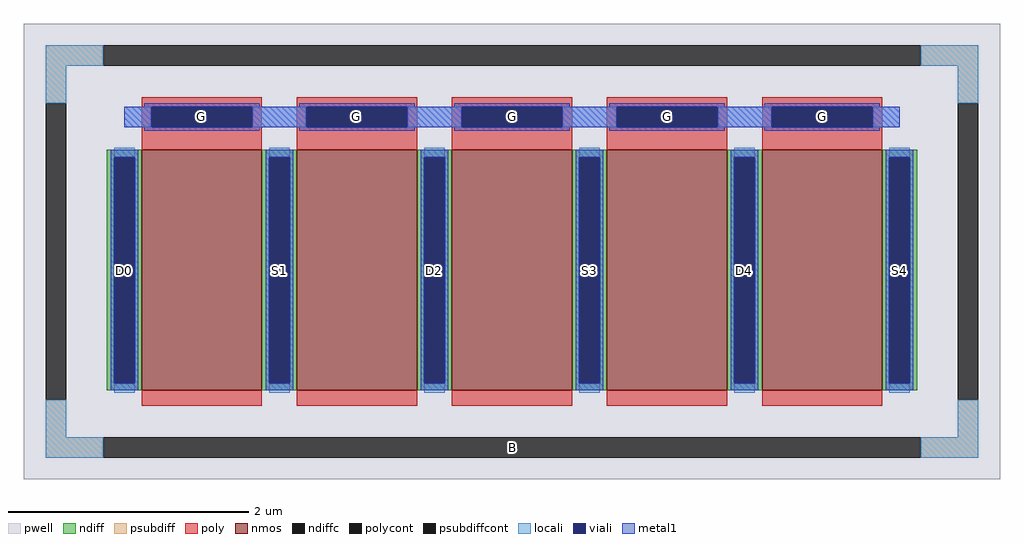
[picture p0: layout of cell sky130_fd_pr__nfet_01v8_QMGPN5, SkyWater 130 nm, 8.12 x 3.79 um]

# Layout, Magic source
magic
tech sky130A
magscale 1 2
<< pwell >>
rect -812 -379 812 379
<< nmos >>
rect -616 -231 -416 169
rect -358 -231 -158 169
rect -100 -231 100 169
rect 158 -231 358 169
rect 416 -231 616 169
<< ndiff >>
rect -674 157 -616 169
rect -674 -219 -662 157
rect -628 -219 -616 157
rect -674 -231 -616 -219
rect -416 157 -358 169
rect -416 -219 -404 157
rect -370 -219 -358 157
rect -416 -231 -358 -219
rect -158 157 -100 169
rect -158 -219 -146 157
rect -112 -219 -100 157
rect -158 -231 -100 -219
rect 100 157 158 169
rect 100 -219 112 157
rect 146 -219 158 157
rect 100 -231 158 -219
rect 358 157 416 169
rect 358 -219 370 157
rect 404 -219 416 157
rect 358 -231 416 -219
rect 616 157 674 169
rect 616 -219 628 157
rect 662 -219 674 157
rect 616 -231 674 -219
<< ndiffc >>
rect -662 -219 -628 157
rect -404 -219 -370 157
rect -146 -219 -112 157
rect 112 -219 146 157
rect 370 -219 404 157
rect 628 -219 662 157
<< psubdiff >>
rect -776 309 -680 343
rect 680 309 776 343
rect -776 247 -742 309
rect 742 247 776 309
rect -776 -309 -742 -247
rect 742 -309 776 -247
rect -776 -343 -680 -309
rect 680 -343 776 -309
<< psubdiffcont >>
rect -680 309 680 343
rect -776 -247 -742 247
rect 742 -247 776 247
rect -680 -343 680 -309
<< poly >>
rect -616 241 -416 257
rect -616 207 -600 241
rect -432 207 -416 241
rect -616 169 -416 207
rect -358 241 -158 257
rect -358 207 -342 241
rect -174 207 -158 241
rect -358 169 -158 207
rect -100 241 100 257
rect -100 207 -84 241
rect 84 207 100 241
rect -100 169 100 207
rect 158 241 358 257
rect 158 207 174 241
rect 342 207 358 241
rect 158 169 358 207
rect 416 241 616 257
rect 416 207 432 241
rect 600 207 616 241
rect 416 169 616 207
rect -616 -257 -416 -231
rect -358 -257 -158 -231
rect -100 -257 100 -231
rect 158 -257 358 -231
rect 416 -257 616 -231
<< polycont >>
rect -600 207 -432 241
rect -342 207 -174 241
rect -84 207 84 241
rect 174 207 342 241
rect 432 207 600 241
<< locali >>
rect -776 309 -680 343
rect 680 309 776 343
rect -776 247 -742 309
rect 742 247 776 309
rect -645 207 -600 241
rect -432 207 -342 241
rect -174 207 -84 241
rect 84 207 174 241
rect 342 207 432 241
rect 600 207 645 241
rect -662 157 -628 173
rect -662 -235 -628 -219
rect -404 157 -370 173
rect -404 -235 -370 -219
rect -146 157 -112 173
rect -146 -235 -112 -219
rect 112 157 146 173
rect 112 -235 146 -219
rect 370 157 404 173
rect 370 -235 404 -219
rect 628 157 662 173
rect 628 -235 662 -219
rect -776 -309 -742 -247
rect 742 -309 776 -247
rect -776 -343 -680 -309
rect 680 -343 776 -309
<< viali >>
rect -600 207 -432 241
rect -342 207 -174 241
rect -84 207 84 241
rect 174 207 342 241
rect 432 207 600 241
rect -662 -219 -628 157
rect -404 -219 -370 157
rect -146 -219 -112 157
rect 112 -219 146 157
rect 370 -219 404 157
rect 628 -219 662 157
<< metal1 >>
rect -612 241 -420 247
rect -354 241 -162 247
rect -96 241 96 247
rect 162 241 354 247
rect 420 241 612 247
rect -645 207 -600 241
rect -432 207 -342 241
rect -174 207 -84 241
rect 84 207 174 241
rect 342 207 432 241
rect 600 207 645 241
rect -612 201 -420 207
rect -354 201 -162 207
rect -96 201 96 207
rect 162 201 354 207
rect 420 201 612 207
rect -668 157 -622 169
rect -668 -219 -662 157
rect -628 -219 -622 157
rect -668 -231 -622 -219
rect -410 157 -364 169
rect -410 -219 -404 157
rect -370 -219 -364 157
rect -410 -231 -364 -219
rect -152 157 -106 169
rect -152 -219 -146 157
rect -112 -219 -106 157
rect -152 -231 -106 -219
rect 106 157 152 169
rect 106 -219 112 157
rect 146 -219 152 157
rect 106 -231 152 -219
rect 364 157 410 169
rect 364 -219 370 157
rect 404 -219 410 157
rect 364 -231 410 -219
rect 622 157 668 169
rect 622 -219 628 157
rect 662 -219 668 157
rect 622 -231 668 -219
<< labels >>
rlabel psubdiffcont 0 -326 0 -326 0 B
port 1 nsew
rlabel ndiffc -645 -31 -645 -31 0 D0
port 2 nsew
rlabel polycont -516 224 -516 224 0 G
port 3 nsew
rlabel ndiffc -387 -31 -387 -31 0 S1
port 4 nsew
rlabel polycont -258 224 -258 224 0 G
port 3 nsew
rlabel ndiffc -129 -31 -129 -31 0 D2
port 5 nsew
rlabel polycont 0 224 0 224 0 G
port 3 nsew
rlabel ndiffc 129 -31 129 -31 0 S3
port 6 nsew
rlabel polycont 258 224 258 224 0 G
port 3 nsew
rlabel ndiffc 387 -31 387 -31 0 D4
port 7 nsew
rlabel ndiffc 645 -31 645 -31 0 S4
port 8 nsew
rlabel polycont 516 224 516 224 0 G
port 3 nsew
<< properties >>
string FIXED_BBOX -759 -326 759 326
string gencell sky130_fd_pr__nfet_01v8
string library sky130
string parameters w 2 l 1.0 m 1 nf 5 diffcov 100 polycov 100 guard 1 glc 1 grc 1 gtc 1 gbc 1 tbcov 100 rlcov 100 topc 1 botc 0 poverlap 0 doverlap 1 lmin 0.15 wmin 0.42 class mosfet compatible {sky130_fd_pr__nfet_01v8 sky130_fd_pr__nfet_01v8_lvt  sky130_fd_bs_flash__special_sonosfet_star  sky130_fd_pr__nfet_g5v0d10v5 sky130_fd_pr__nfet_05v0_nvt  sky130_fd_pr__nfet_03v3_nvt} full_metal 1 conn_gates 1 viasrc 100 viadrn 100 viagate 100 viagb 0 viagr 0 viagl 0 viagt 0 doports 1
<< end >>
